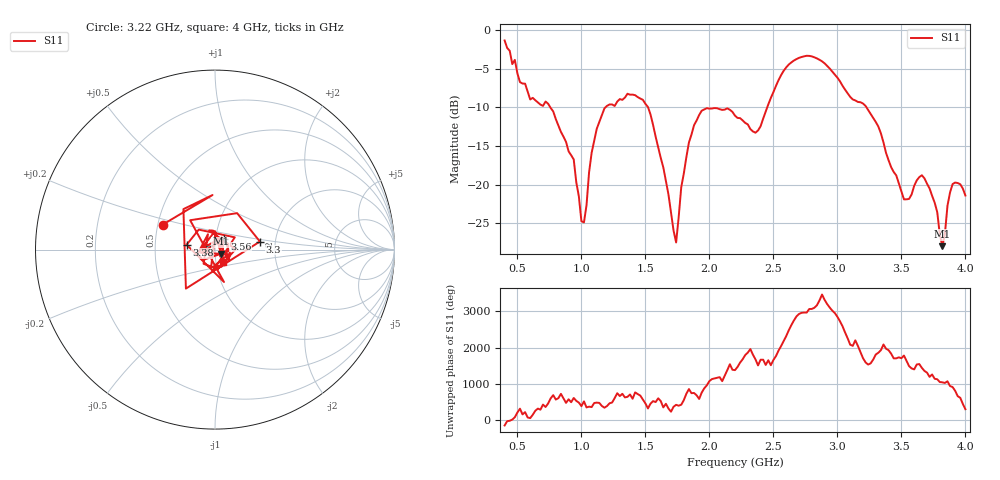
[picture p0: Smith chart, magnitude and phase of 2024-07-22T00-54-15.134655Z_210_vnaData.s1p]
!Created with skrf (http://scikit-rf.org).
# Hz S RI R 50.0
!freq ReS11 ImS11
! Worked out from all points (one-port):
!   181 points, 400 MHz to 4 GHz, reference 50 ohm
!   lowest |S11| = -28.0 dB at 3.82 GHz (marker M1), VSWR 1.08, Z = 53.3 - j2.51 ohm
!   |S11| at or under -10 dB: 757.1 MHz to 1.188 GHz (430.9 MHz wide, 44.3 % of centre); 1.521 GHz to 2.452 GHz (930.8 MHz wide, 46.9 % of centre); 3.227 GHz to end of sweep
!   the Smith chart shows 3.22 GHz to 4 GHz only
!   S11 on the Smith chart (normalised r, x): 3.22 GHz: 0.53, +0.16; 3.3 GHz: 1.66, +0.16; 3.38 GHz: 0.73, +0.04; 3.56 GHz: 1.10, +0.14; 4 GHz: 1.09, -0.16
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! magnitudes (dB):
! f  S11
! 400 MHz  -1.3
! 600 MHz  -9.0
! 740 MHz  -9.5
! 860 MHz  -13.8
! 940 MHz  -16.7
! 1 GHz  -24.7
! 1.02 GHz  -24.9
! 1.12 GHz  -12.8
! 1.3 GHz  -8.9
! 1.52 GHz  -10.0
! 1.74 GHz  -27.5
! 1.76 GHz  -24.2
! 1.84 GHz  -14.6
! 1.92 GHz  -11.0
! 2.2 GHz  -11.1
! 2.38 GHz  -13.0
! 2.66 GHz  -3.9
! 2.88 GHz  -4.0
! 3.1 GHz  -8.6
! 3.22 GHz  -9.8
! 3.3 GHz  -11.9
! 3.38 GHz  -15.9
! 3.56 GHz  -21.9
! 3.68 GHz  -19.2
! 3.78 GHz  -23.6
! 3.82 GHz  -28.0
! 3.9 GHz  -19.9
! 4 GHz  -21.4
